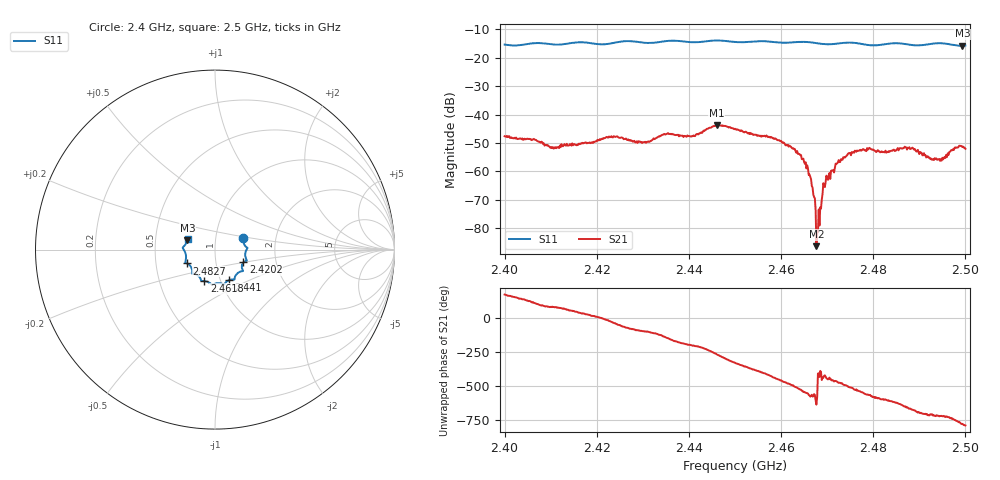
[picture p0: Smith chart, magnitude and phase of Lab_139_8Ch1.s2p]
# Hz S RI R 50
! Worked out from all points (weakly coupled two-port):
!   601 points, 2.4 GHz to 2.5 GHz, reference 50 ohm
!   highest |S21| = -43.68 dB at 2.446 GHz (marker M1); lowest = -86.3 dB at 2.4677 GHz (marker M2)
!   lowest |S11| = -15.8 dB at 2.4993 GHz (marker M3), VSWR 1.39, Z = 36.5 + j3.82 ohm
!   |S11| at or under -10 dB: start of sweep to end of sweep
!   S12 and S22 are empty: the file has one direction only
!   S11 on the Smith chart (normalised r, x): 2.4 GHz: 1.36, +0.18; 2.4202 GHz: 1.36, -0.20; 2.441 GHz: 1.10, -0.39; 2.4618 GHz: 0.84, -0.30; 2.4827 GHz: 0.72, -0.11; 2.5 GHz: 0.73, +0.09
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2.4e9  0.1583 0.0625  -0.00409 0.000711  0 0  0 0
2.410333e9  0.1715 -0.0094  0.000375 0.00253  0 0  0 0
2.416667e9  0.1771 -0.0609  0.00257 0.0017  0 0  0 0
2.420167e9  0.1585 -0.0712  0.00358 0.000381  0 0  0 0
2.433333e9  0.1116 -0.1507  -0.00208 -0.00347  0 0  0 0
2.441e9  0.0787 -0.1698  -0.00395 0.00164  0 0  0 0
2.446e9  0.0497 -0.195  -0.000459 0.00653  0 0  0 0
2.45e9  0.0286 -0.1874  0.0048 0.00293  0 0  0 0
2.461833e9  -0.0592 -0.1753  -0.00159 -0.00236  0 0  0 0
2.464833e9  -0.0758 -0.1745  -0.00167 4.83e-05  0 0  0 0
2.466667e9  -0.0787 -0.1683  -0.000514 0.000209  0 0  0 0
2.467667e9  -0.081 -0.1617  3.41e-06 4.8e-05  0 0  0 0
2.468167e9  -0.0828 -0.158  0.000152 -0.000149  0 0  0 0
2.4695e9  -0.0911 -0.1475  0.00026 -0.00046  0 0  0 0
2.472333e9  -0.1159 -0.1351  -0.000543 -0.00133  0 0  0 0
2.4765e9  -0.1273 -0.1278  -0.00231 -0.000303  0 0  0 0
2.482667e9  -0.1558 -0.0771  -0.00126 0.00193  0 0  0 0
2.483333e9  -0.16 -0.0752  -0.00103 0.00201  0 0  0 0
2.488167e9  -0.1614 -0.0478  0.00146 0.00201  0 0  0 0
2.494333e9  -0.1799 0.0102  0.00165 9.02e-06  0 0  0 0
2.499333e9  -0.1541 0.051  0.00156 -0.00217  0 0  0 0
2.5e9  -0.1523 0.0606  0.001 -0.00228  0 0  0 0
